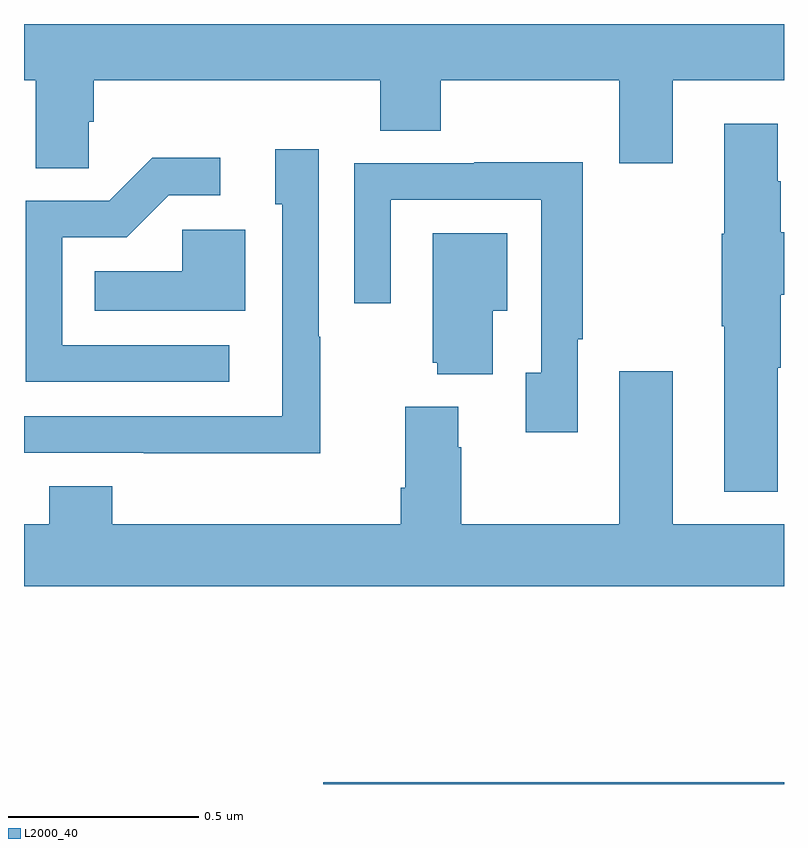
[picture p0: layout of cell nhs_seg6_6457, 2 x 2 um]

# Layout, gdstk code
import gdstk
lib = gdstk.Library(unit=1e-6, precision=1e-09)
def R(c, l, rs):  # rectangles x0, y0, x1, y1
    for r in rs: c.add(gdstk.rectangle(r[:2], r[2:], *l))
def P(c, l, *ps):  # polygons
    for p in ps: c.add(gdstk.Polygon(p, *l))
L2000_40 = (2000, 40)

nhs_seg6_6457 = lib.new_cell('nhs_seg6_6457')
R(nhs_seg6_6457, L2000_40, [(196.787,929.5,198,929.504)])
P(nhs_seg6_6457, L2000_40, [(196.17,931.243),(196.184,931.243),(196.184,931.352),(196.937,931.352),(196.937,931.219),(197.097,931.219),(197.097,931.352),(197.567,931.352),(197.567,931.134),(197.707,931.134),(197.707,931.352),(198,931.352),(198,931.5),(196,931.5),(196,931.352),(196.031,931.352),(196.031,931.12),(196.17,931.12)],
  [(197.983,930.595),(197.991,930.595),(197.991,930.788),(198,930.788),(198,930.952),(197.991,930.952),(197.991,931.086),(197.983,931.086),(197.983,931.237),(197.843,931.237),(197.843,930.948),(197.836,930.948),(197.836,930.704),(197.843,930.704),(197.843,930.269),(197.983,930.269)],
  [(196.779,930.677),(196.776,930.677),(196.776,931.171),(196.661,931.171),(196.661,931.026),(196.68,931.026),(196.68,930.695),(196.679,930.695),(196.679,930.468),(196,930.468),(196,930.372),(196.315,930.372),(196.315,930.371),(196.779,930.371)],
  [(196.54,930.654),(196.101,930.654),(196.101,930.939),(196.27,930.939),(196.381,931.05),(196.516,931.05),(196.516,931.148),(196.337,931.148),(196.224,931.035),(196.005,931.035),(196.005,930.558),(196.54,930.558)],
  [(197.457,930.67),(197.47,930.67),(197.47,931.136),(197.185,931.136),(197.185,931.134),(196.869,931.134),(196.869,930.765),(196.965,930.765),(196.965,931.038),(197.361,931.038),(197.361,930.582),(197.321,930.582),(197.321,930.426),(197.457,930.426)],
  [(196.582,930.958),(196.417,930.958),(196.417,930.85),(196.186,930.85),(196.186,930.746),(196.582,930.746)],
  [(197.233,930.746),(197.272,930.746),(197.272,930.949),(197.075,930.949),(197.075,930.609),(197.087,930.609),(197.087,930.578),(197.233,930.578)],
  [(198,930.184),(197.707,930.184),(197.707,930.586),(197.567,930.586),(197.567,930.184),(197.151,930.184),(197.151,930.386),(197.143,930.386),(197.143,930.493),(197.003,930.493),(197.003,930.28),(196.991,930.28),(196.991,930.184),(196.232,930.184),(196.232,930.283),(196.067,930.283),(196.067,930.184),(196,930.184),(196,930.02),(198,930.02)])

lib.write_gds('nhs_seg6_6457.gds')
